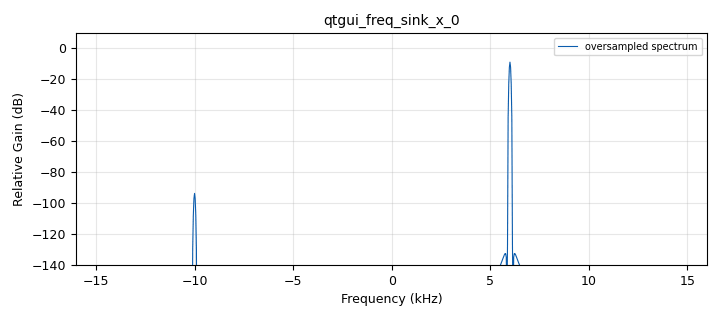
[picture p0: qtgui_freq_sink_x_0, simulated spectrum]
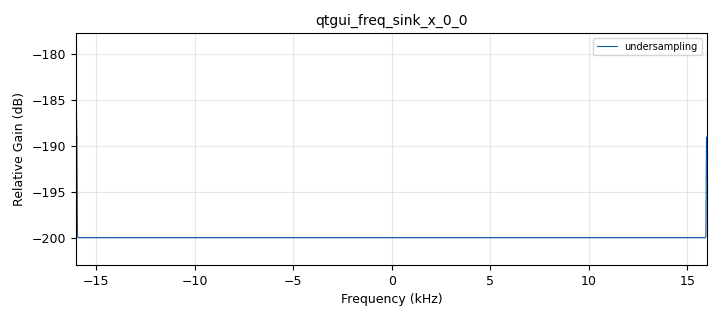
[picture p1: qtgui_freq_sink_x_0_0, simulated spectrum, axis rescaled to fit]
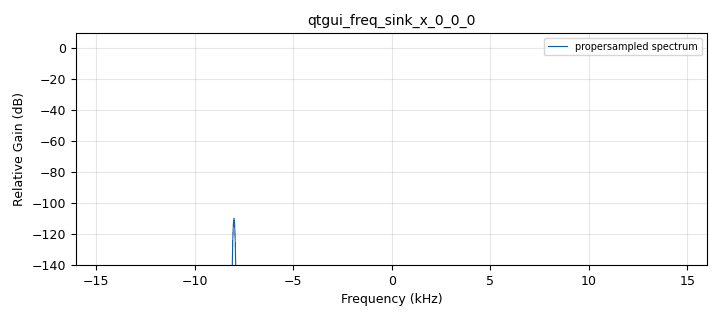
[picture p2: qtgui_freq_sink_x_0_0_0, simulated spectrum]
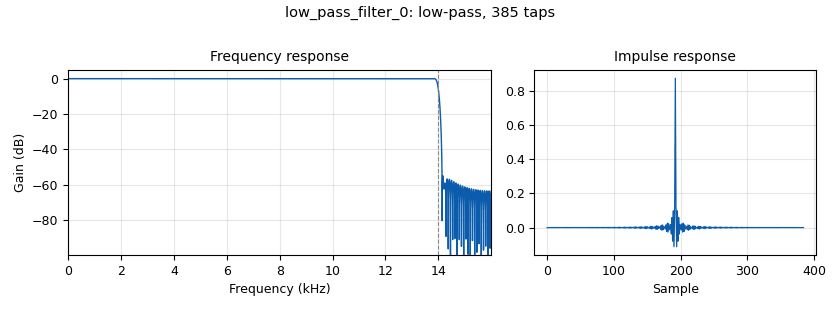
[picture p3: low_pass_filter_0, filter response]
options:
  parameters:
    author: biswa
    generate_options: qt_gui
    id: sampling
    output_language: python
    title: sampling
  states: {}

blocks:
- name: samp_rate
  id: variable
  parameters:
    value: '32000'
  states: {}
- name: analog_sig_source_x_0
  id: analog_sig_source_x
  parameters:
    amp: '1'
    freq: '12000'
    offset: '0'
    phase: '0'
    samp_rate: samp_rate
    type: complex
    waveform: analog.GR_COS_WAVE
  states: {}
- name: blocks_throttle2_0
  id: blocks_throttle2
  parameters:
    samples_per_second: samp_rate
    type: complex
  states: {}
- name: low_pass_filter_0
  id: low_pass_filter
  parameters:
    cutoff_freq: '14000'
    decim: '1'
    gain: '1'
    samp_rate: samp_rate
    type: fir_filter_ccf
    width: '200'
    win: window.WIN_HAMMING
  states: {}
- name: low_pass_filter_0_0
  id: low_pass_filter
  parameters:
    cutoff_freq: '14000'
    decim: '1'
    gain: '1'
    samp_rate: samp_rate
    type: fir_filter_ccf
    width: '200'
    win: window.WIN_HAMMING
  states: {}
- name: low_pass_filter_0_0_0
  id: low_pass_filter
  parameters:
    cutoff_freq: '14000'
    decim: '1'
    gain: '1'
    samp_rate: samp_rate
    type: fir_filter_ccf
    width: '200'
    win: window.WIN_HAMMING
  states: {}
- name: qtgui_freq_sink_x_0
  id: qtgui_freq_sink_x
  parameters:
    bw: samp_rate
    fc: '0'
    fftsize: '1024'
    label1: oversampled spectrum
    type: complex
  states: {}
- name: qtgui_freq_sink_x_0_0
  id: qtgui_freq_sink_x
  parameters:
    bw: samp_rate
    fc: '0'
    fftsize: '1024'
    label1: undersampling
    type: complex
  states: {}
- name: qtgui_freq_sink_x_0_0_0
  id: qtgui_freq_sink_x
  parameters:
    bw: samp_rate
    fc: '0'
    fftsize: '1024'
    label1: propersampled spectrum
    type: complex
  states: {}
- name: rational_resampler_xxx_0
  id: rational_resampler_xxx
  parameters:
    decim: '1'
    interp: '2'
    type: ccc
  states: {}
- name: rational_resampler_xxx_0_0
  id: rational_resampler_xxx
  parameters:
    decim: '4'
    interp: '1'
    type: ccc
  states: {}
- name: rational_resampler_xxx_0_0_0
  id: rational_resampler_xxx
  parameters:
    decim: '2'
    interp: '1'
    type: ccc
  states: {}

connections:
- [analog_sig_source_x_0, '0', blocks_throttle2_0, '0']
- [blocks_throttle2_0, '0', rational_resampler_xxx_0, '0']
- [blocks_throttle2_0, '0', rational_resampler_xxx_0_0, '0']
- [blocks_throttle2_0, '0', rational_resampler_xxx_0_0_0, '0']
- [low_pass_filter_0, '0', qtgui_freq_sink_x_0, '0']
- [low_pass_filter_0_0, '0', qtgui_freq_sink_x_0_0, '0']
- [low_pass_filter_0_0_0, '0', qtgui_freq_sink_x_0_0_0, '0']
- [rational_resampler_xxx_0, '0', low_pass_filter_0, '0']
- [rational_resampler_xxx_0_0, '0', low_pass_filter_0_0, '0']
- [rational_resampler_xxx_0_0_0, '0', low_pass_filter_0_0_0, '0']

metadata:
  file_format: 1
  grc_version: 3.10.12.0
